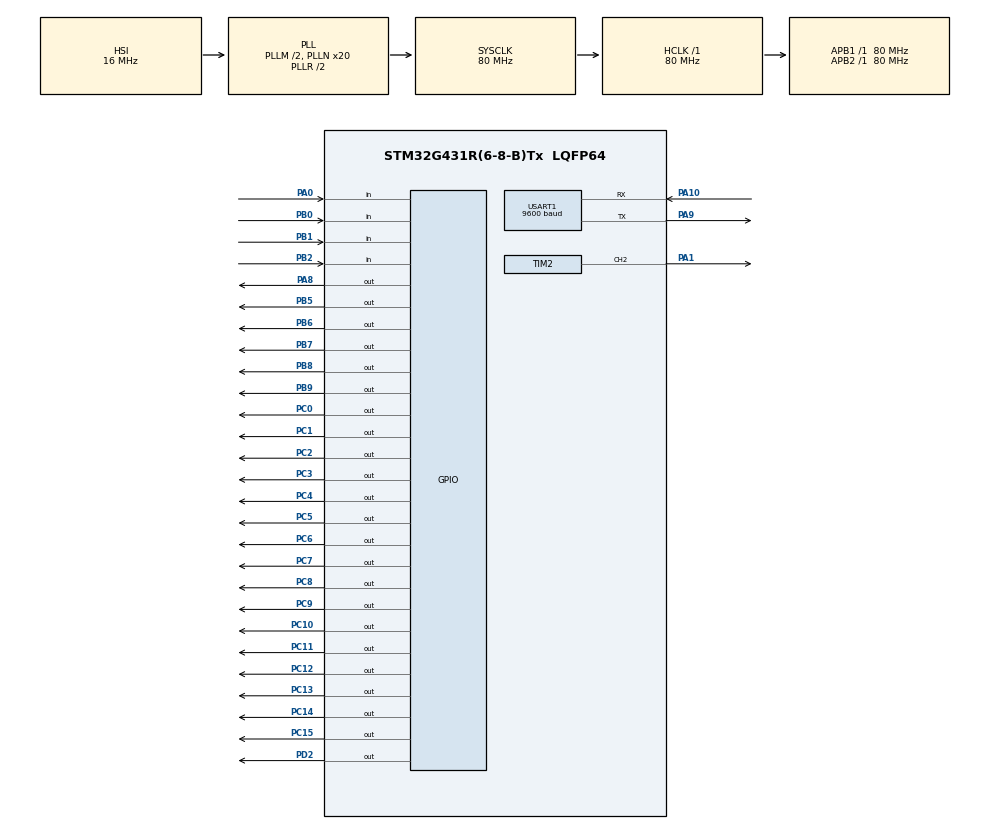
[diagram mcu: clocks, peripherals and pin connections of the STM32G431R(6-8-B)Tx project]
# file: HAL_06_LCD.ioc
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Mcu.Family=STM32G4
Mcu.Name=STM32G431R(6-8-B)Tx
Mcu.Package=LQFP64
NVIC.PriorityGroup=NVIC_PRIORITYGROUP_2
NVIC.TIM3_IRQn=true\:1\:0\:true\:false\:true\:true\:true\:true
NVIC.USART1_IRQn=true\:1\:0\:true\:false\:true\:true\:true\:true
PA0.Signal=GPIO_Input
PA1.Signal=S_TIM2_CH2
PA10.Mode=Asynchronous
PA10.Signal=USART1_RX
PA8.Signal=GPIO_Output
PA9.Mode=Asynchronous
PA9.Signal=USART1_TX
PB0.Signal=GPIO_Input
PB1.Signal=GPIO_Input
PB2.Signal=GPIO_Input
PB5.Signal=GPIO_Output
PB6.Signal=GPIO_Output
PB7.Signal=GPIO_Output
PB8-BOOT0.Signal=GPIO_Output
PB9.Signal=GPIO_Output
PC0.Signal=GPIO_Output
PC1.Signal=GPIO_Output
PC10.Signal=GPIO_Output
PC11.Signal=GPIO_Output
PC12.Signal=GPIO_Output
PC13.Signal=GPIO_Output
PC14-OSC32_IN.Signal=GPIO_Output
PC15-OSC32_OUT.Signal=GPIO_Output
PC2.Signal=GPIO_Output
PC3.Signal=GPIO_Output
PC4.Signal=GPIO_Output
PC5.Signal=GPIO_Output
PC6.Signal=GPIO_Output
PC7.Signal=GPIO_Output
PC8.Signal=GPIO_Output
PC9.Signal=GPIO_Output
PD2.Signal=GPIO_Output
PF0-OSC_IN.Mode=HSE-External-Oscillator
PF0-OSC_IN.Signal=RCC_OSC_IN
PF1-OSC_OUT.Mode=HSE-External-Oscillator
PF1-OSC_OUT.Signal=RCC_OSC_OUT
ProjectManager.HeapSize=0x200
ProjectManager.StackSize=0x400
ProjectManager.TargetToolchain=MDK-ARM V5.27
RCC.ADC12Freq_Value=80000000
RCC.AHBFreq_Value=80000000
RCC.APB1Freq_Value=80000000
RCC.APB1TimFreq_Value=80000000
RCC.APB2Freq_Value=80000000
RCC.APB2TimFreq_Value=80000000
RCC.CortexFreq_Value=80000000
RCC.EXTERNAL_CLOCK_VALUE=12288000
RCC.HCLKFreq_Value=80000000
RCC.HSE_VALUE=24000000
RCC.HSI48_VALUE=48000000
RCC.HSI_VALUE=16000000
RCC.LSE_VALUE=32768
RCC.PLLM=RCC_PLLM_DIV2
RCC.PLLN=20
RCC.SYSCLKFreq_VALUE=80000000
RCC.SYSCLKSource=RCC_SYSCLKSOURCE_PLLCLK
RCC.USBFreq_Value=80000000
RCC.VCOOutputFreq_Value=160000000
SH.S_TIM2_CH2.0=TIM2_CH2,PWM Generation2 CH2
TIM2.AutoReloadPreload=TIM_AUTORELOAD_PRELOAD_DISABLE
TIM2.Channel-PWM\ Generation2\ CH2=TIM_CHANNEL_2
TIM2.PeriodNoDither=999
TIM2.Prescaler=79
TIM3.PeriodNoDither=999
TIM3.Prescaler=1598
USART1.BaudRate=9600
USART1.VirtualMode-Asynchronous=VM_ASYNC
VP_SYS_VS_DBSignals.Mode=DisableDeadBatterySignals
VP_TIM2_VS_ClockSourceINT.Mode=Internal
VP_TIM3_VS_ClockSourceINT.Mode=Internal
board=custom

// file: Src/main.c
/* USER CODE BEGIN Header */
/**
 ******************************************************************************
 * @file           : main.c
 * @brief          : Main program body
 ******************************************************************************
 * @attention
 *
 * <h2><center>&copy; Copyright (c) 2021 STMicroelectronics.
 * All rights reserved.</center></h2>
 *
 * This software component is licensed by ST under BSD 3-Clause license,
 * the "License"; You may not use this file except in compliance with the
 * License. You may obtain a copy of the License at:
 *                        opensource.org/licenses/BSD-3-Clause
 *
 ******************************************************************************
 */
/* USER CODE END Header */
#include "main.h"

/* USER CODE BEGIN Includes */
#include "stdbool.h"
#include "i2c.h"
#include "stdio.h"
#include "string.h"
/* USER CODE END Includes */

TIM_HandleTypeDef htim2;
TIM_HandleTypeDef htim3;

UART_HandleTypeDef huart1;

void SystemClock_Config(void);
static void MX_GPIO_Init(void);
static void MX_TIM2_Init(void);
static void MX_USART1_UART_Init(void);
static void MX_TIM3_Init(void);

/* USER CODE BEGIN 0 */
typedef struct
{
	unsigned char judge_sta; // 0:表示按键没有按下 1:表示按键按下，但是不知道是不是真的按下，需要通过延时消抖进行判断 2:表示按键按下，已经经过了延时消抖，可以认为是真的按下了
	bool key_sta;			 // 按键的状态，0表示按下，1表示没有按下
	bool single_flag;		 // 单次按键标志，0表示没有按下，1表示按下了
} keys;

keys key[4] = {0};//按键初始化
unsigned char menu = 1;//菜单选择 1:密码输入 2：状态显示
unsigned char psd[3] = {'@', '@', '@'};//用于保存当前密码值
char lcd_string[30] = {'@'};//用于作为LCD显示的字符串
char password_line[11] = {'@', '0', '1', '2', '3', '4', '5', '6', '7', '8', '9'};//保存的是密码的可输入字符，当初始时没有按键按下的情况时，显示的是@，当按下按键时，显示的是对应的数字
unsigned char key_num[3] = {0, 0, 0};//用于保存当前按键按下的次数，用于作为密码的索引
char uart_text[7];//用于保存串口接收到的字符串,这是由uart_word组成的字符串
unsigned char uart_word;//用于保存串口接收到的字符
unsigned char uart_len;//用于保存串口接收到的字符串的长度
__IO uint32_t PWM_Tick;//用于保存系统运行到当前的时间
__IO uint32_t led_Tick_1;//用于保存led1亮时的时间
__IO uint32_t led_Tick_2;//用于保存led2亮时的时间，用于闪烁
unsigned char error_time;//用于保存错误次数
unsigned char error_flag;//用于保存错误标志，0表示没有错误，1表示有错误
unsigned char right_flag;//用于保存正确标志，0表示没有正确，1表示有正确

unsigned char i2c_read(unsigned char address)//读取eeprom存储的密码值
{
	unsigned char i2c_val;
	I2CStart();
	I2CSendByte(0xa0);
	I2CWaitAck();

	I2CSendByte(address);
	I2CWaitAck();

	I2CStart();
	I2CSendByte(0xa1);
	I2CWaitAck();

	i2c_val = I2CReceiveByte();
	I2CWaitAck();
	I2CStop();
	return i2c_val;
}

void i2c_write(unsigned char address, unsigned char info)//向eeprom存储密码值
{
	I2CStart();
	I2CSendByte(0xa0);
	I2CWaitAck();

	I2CSendByte(address);
	I2CWaitAck();

	I2CSendByte(info);
	I2CWaitAck();
	I2CStop();
}

void HAL_TIM_PeriodElapsedCallback(TIM_HandleTypeDef *htim)//定时器3回调函数，每20ms执行一次，用于判断是否有按键按下
{
	if (htim->Instance == TIM3)
	{
		key[0].key_sta = HAL_GPIO_ReadPin(GPIOB, GPIO_PIN_0);
		key[1].key_sta = HAL_GPIO_ReadPin(GPIOB, GPIO_PIN_1);
		key[2].key_sta = HAL_GPIO_ReadPin(GPIOB, GPIO_PIN_2);
		key[3].key_sta = HAL_GPIO_ReadPin(GPIOA, GPIO_PIN_0);
		for (int i = 0; i < 4; i++)
		{
			switch (key[i].judge_sta)
			{
			case 0:
			{
				if (key[i].key_sta == 0)
				{
					key[i].judge_sta = 1;
				}
				else
				{
					key[i].judge_sta = 0;
				}
			}
			break;
			case 1:
			{
				if (key[i].key_sta == 0)
				{
					key[i].single_flag = 1;
					key[i].judge_sta = 2;
				}
				else
				{
					key[i].judge_sta = 0;
				}
			}
			break;
			case 2:
			{
				if (key[i].key_sta == 1)
				{
					key[i].judge_sta = 0;
				}
			}
			break;
			}
		}
	}
}
void key_proc()//按键处理函数,当按键按下时，key_num的值会加1，当key_num的值大于10时，key_num的值会变为1，这样就可以实现循环显示0-9，并且跳过@
{
	if (key[0].single_flag == 1)
	{
		key_num[0] = key_num[0] + 1;
		if (key_num[0] > 10)
		{
			key_num[0] = 1;
		}
		key[0].single_flag = 0;
	}

	if (key[1].single_flag == 1)
	{
		key_num[1] = key_num[1] + 1;
		if (key_num[1] > 10)
		{
			key_num[1] = 1;
		}
		key[1].single_flag = 0;
	}
	if (key[2].single_flag == 1)
	{
		key_num[2] = key_num[2] + 1;
		if (key_num[2] > 10)
		{
			key_num[2] = 1;
		}
		key[2].single_flag = 0;
	}

	if (key[3].single_flag == 1)
	{
		psd[0] = i2c_read(0x00);//读取eeprom中的密码值
		HAL_Delay(1);//延时1ms,这是因为i2c的读写速度太快了，如果不延时，会导致读取的值不正确
		psd[1] = i2c_read(0x01);
		HAL_Delay(1);
		psd[2] = i2c_read(0x02);
		HAL_Delay(1);
		if ((password_line[key_num[0]] == psd[0]) && (password_line[key_num[1]] == psd[1]) && (password_line[key_num[2]] == psd[2]))//判断输入的密码是否正确
		{
			menu = 2;//正确，进入菜单2
			PWM_Tick = uwTick;//记录当前时间
			led_Tick_1 = uwTick;//记录当前时间
			error_time = 0;//错误次数清零
			right_flag = 1;//正确标志位置1
			HAL_GPIO_WritePin(GPIOC, GPIO_PIN_8, 0);
			HAL_GPIO_WritePin(GPIOD, GPIO_PIN_2, 1);
			HAL_GPIO_WritePin(GPIOD, GPIO_PIN_2, 0);
		}
		else
		{
			key_num[0] = 0;//错误，清空输入的密码
			key_num[1] = 0;
			key_num[2] = 0;
			error_time++;//错误次数加1
			if (error_time >= 3)//错误次数大于等于3次时，led2闪烁
			{
				error_flag = 1;//错误标志位置1
				led_Tick_2 = uwTick;//记录当前时间
			}
		}
		key[3].single_flag = 0;
	}
}
void lcd_disp()
{

	switch (menu)
	{
	case 1:
	{
		__HAL_TIM_SET_AUTORELOAD(&htim2, 999);//密码输入界面就是一个PWM波，频率为1KHz，占空比为50%
		__HAL_TIM_SetCompare(&htim2, TIM_CHANNEL_2, 500);
		sprintf(lcd_string, "       PSD");
		LCD_DisplayStringLine(Line2, (unsigned char *)lcd_string);
		sprintf(lcd_string, "    B1:%c", password_line[key_num[0]]);
		LCD_DisplayStringLine(Line4, (unsigned char *)lcd_string);
		sprintf(lcd_string, "    B2:%c", password_line[key_num[1]]);
		LCD_DisplayStringLine(Line5, (unsigned char *)lcd_string);
		sprintf(lcd_string, "    B3:%c", password_line[key_num[2]]);
		LCD_DisplayStringLine(Line6, (unsigned char *)lcd_string);
	}
	break;
	case 2:
	{
		__HAL_TIM_SET_AUTORELOAD(&htim2, 499);//菜单2界面就是一个PWM波，频率为2KHz，占空比为10%
		__HAL_TIM_SetCompare(&htim2, TIM_CHANNEL_2, 50);
		sprintf(lcd_string, "       STA");
		LCD_DisplayStringLine(Line2, (unsigned char *)lcd_string);
		sprintf(lcd_string, "    F:%4dHz", 2000);
		LCD_DisplayStringLine(Line4, (unsigned char *)lcd_string);
		sprintf(lcd_string, "    D:%d%%", 10);
		LCD_DisplayStringLine(Line5, (unsigned char *)lcd_string);
		LCD_ClearLine(Line6);
	}
	break;
	}
	if (menu == 2)
	{
		if (uwTick - PWM_Tick > 5000)//5秒后自动返回菜单1
		{
			__HAL_TIM_SET_AUTORELOAD(&htim2, 999);//密码输入界面就是一个PWM波，频率为1KHz，占空比为50%
			__HAL_TIM_SetCompare(&htim2, TIM_CHANNEL_2, 500);
			menu = 1;
			LCD_Clear(Black);//清屏
			key_num[0] = 0;
			key_num[1] = 0;
			key_num[2] = 0;
		}
	}
}
void HAL_UART_RxCpltCallback(UART_HandleTypeDef *huart)
{
	if (huart == &huart1)
	{
		uart_text[uart_len++] = uart_word;//将接收到的字符存入数组,uart_len++是先赋值再加1,就是初始时uart_len=0,所以先存入数组的是uart_text[0]
		HAL_UART_Receive_IT(&huart1, &uart_word, 1);//开启串口中断,&uart_word是接收到的字符	,要求特别注意这里，需要传入的是地址不是值
	}
}
unsigned char judge_uart_text()//判断接收到的字符串是否符合要求
{

	if (uart_len == 0)
	{
		return 0;
	}
	if (uart_len != 7)
	{
		return 2;
	}
	if (uart_text[3] == '-')
	{
		for (int i = 0; i < 3; i++)
		{
			if ((uart_text[i] < '0') || (uart_text[i] > '9'))
			{
				return 2;
			}
		}
		for (int i = 4; i < 7; i++)
		{
			if ((uart_text[i] < '0') || uart_text[i] > '9')
			{
				return 2;
			}
		}
		return 1;
	}
	else
	{
		return 2;
	}
}
void change_password()//修改密码
{
	unsigned char tips[30];
	if (judge_uart_text() == 1)
	{
		if ((uart_text[0] == psd[0]) && (uart_text[1] == psd[1]) && (uart_text[2] == psd[2]))
		{
			psd[0] = uart_text[4];
			psd[1] = uart_text[5];
			psd[2] = uart_text[6];
			i2c_write(0x00, psd[0]);
			HAL_Delay(5);
			i2c_write(0x01, psd[1]);
			HAL_Delay(5);
			i2c_write(0x02, psd[2]);
			HAL_Delay(5);
			sprintf((char *)tips, "OK\n");
			HAL_UART_Transmit(&huart1, tips, strlen(tips), 50);
		}
		else
		{
			sprintf((char *)tips, "Errors\n");
			HAL_UART_Transmit(&huart1, tips, strlen(tips), 50);
		}
	}
	else if (judge_uart_text() == 2)
	{
		sprintf((char *)tips, "Error\n");
		HAL_UART_Transmit(&huart1, tips, strlen(tips), 50);
	}
	uart_len = 0;
}
void led_proc()
{
	if ((uwTick - led_Tick_1 >= 5000) && (right_flag == 1))//5秒后自动关闭LED,并且只有在输入正确的密码之后才会在5秒后关闭led1与led2
	{
		HAL_GPIO_WritePin(GPIOC, GPIO_PIN_8 | GPIO_PIN_9, 1);
		HAL_GPIO_WritePin(GPIOD, GPIO_PIN_2, 1);
		HAL_GPIO_WritePin(GPIOD, GPIO_PIN_2, 0);
		error_flag = 0;
		right_flag = 0;
	}
	if (error_flag == 1)
	{

		if (uwTick - led_Tick_2 >= 100)//每100ms就闪烁一次
		{
			HAL_GPIO_TogglePin(GPIOC, GPIO_PIN_9);
			HAL_GPIO_WritePin(GPIOD, GPIO_PIN_2, 1);
			HAL_GPIO_WritePin(GPIOD, GPIO_PIN_2, 0);
			led_Tick_2 = uwTick;
		}
	}
}

/* USER CODE END 0 */

int main(void)
{

	/* MCU Configuration--------------------------------------------------------*/

	/* Reset of all peripherals, Initializes the Flash interface and the Systick. */
	HAL_Init();

	/* Configure the system clock */
	SystemClock_Config();

	/* Initialize all configured peripherals */
	MX_GPIO_Init();
	MX_TIM2_Init();
	MX_USART1_UART_Init();
	MX_TIM3_Init();
	/* USER CODE BEGIN 2 */

	LCD_Init();
	/* USER CODE END 2 */

	/* Infinite loop */
	/* USER CODE BEGIN WHILE */

	LCD_Clear(Black);
	LCD_SetBackColor(Black);
	LCD_SetTextColor(White);
	HAL_GPIO_WritePin(GPIOC, GPIO_PIN_All, GPIO_PIN_SET);
	HAL_GPIO_WritePin(GPIOD, GPIO_PIN_2, GPIO_PIN_SET);
	HAL_GPIO_WritePin(GPIOD, GPIO_PIN_2, GPIO_PIN_RESET);
	__HAL_TIM_SET_AUTORELOAD(&htim2, 999);
	__HAL_TIM_SetCompare(&htim2, TIM_CHANNEL_2, 500);
	HAL_TIM_PWM_Start(&htim2, TIM_CHANNEL_2);
	HAL_TIM_Base_Start_IT(&htim3);
	HAL_UART_Receive_IT(&huart1, &uart_word, 1);
	i2c_write(0x00, '1');
	HAL_Delay(5);
	i2c_write(0x01, '2');
	HAL_Delay(5);
	i2c_write(0x02, '3');
	HAL_Delay(5);

	psd[0] = '1';
	psd[1] = '2';
	psd[2] = '3';

	while (1)
	{
		/* USER CODE END WHILE */

		/* USER CODE BEGIN 3 */

		key_proc();
		lcd_disp();
		change_password();
		led_proc();
	}
	/* USER CODE END 3 */
}

void SystemClock_Config(void)
{
	RCC_OscInitTypeDef RCC_OscInitStruct = {0};
	RCC_ClkInitTypeDef RCC_ClkInitStruct = {0};

	/** Configure the main internal regulator output voltage
	 */
	HAL_PWREx_ControlVoltageScaling(PWR_REGULATOR_VOLTAGE_SCALE1);

	/** Initializes the RCC Oscillators according to the specified parameters
	 * in the RCC_OscInitTypeDef structure.
	 */
	RCC_OscInitStruct.OscillatorType = RCC_OSCILLATORTYPE_HSI;
	RCC_OscInitStruct.HSIState = RCC_HSI_ON;
	RCC_OscInitStruct.HSICalibrationValue = RCC_HSICALIBRATION_DEFAULT;
	RCC_OscInitStruct.PLL.PLLState = RCC_PLL_ON;
	RCC_OscInitStruct.PLL.PLLSource = RCC_PLLSOURCE_HSI;
	RCC_OscInitStruct.PLL.PLLM = RCC_PLLM_DIV2;
	RCC_OscInitStruct.PLL.PLLN = 20;
	RCC_OscInitStruct.PLL.PLLP = RCC_PLLP_DIV2;
	RCC_OscInitStruct.PLL.PLLQ = RCC_PLLQ_DIV2;
	RCC_OscInitStruct.PLL.PLLR = RCC_PLLR_DIV2;
	if (HAL_RCC_OscConfig(&RCC_OscInitStruct) != HAL_OK)
	{
		Error_Handler();
	}

	/** Initializes the CPU, AHB and APB buses clocks
	 */
	RCC_ClkInitStruct.ClockType = RCC_CLOCKTYPE_HCLK | RCC_CLOCKTYPE_SYSCLK | RCC_CLOCKTYPE_PCLK1 | RCC_CLOCKTYPE_PCLK2;
	RCC_ClkInitStruct.SYSCLKSource = RCC_SYSCLKSOURCE_PLLCLK;
	RCC_ClkInitStruct.AHBCLKDivider = RCC_SYSCLK_DIV1;
	RCC_ClkInitStruct.APB1CLKDivider = RCC_HCLK_DIV1;
	RCC_ClkInitStruct.APB2CLKDivider = RCC_HCLK_DIV1;

	if (HAL_RCC_ClockConfig(&RCC_ClkInitStruct, FLASH_LATENCY_2) != HAL_OK)
	{
		Error_Handler();
	}
}

static void MX_TIM2_Init(void)
{

	TIM_ClockConfigTypeDef sClockSourceConfig = {0};
	TIM_MasterConfigTypeDef sMasterConfig = {0};
	TIM_OC_InitTypeDef sConfigOC = {0};

	htim2.Instance = TIM2;
	htim2.Init.Prescaler = 79;
	htim2.Init.CounterMode = TIM_COUNTERMODE_UP;
	htim2.Init.Period = 999;
	htim2.Init.ClockDivision = TIM_CLOCKDIVISION_DIV1;
	htim2.Init.AutoReloadPreload = TIM_AUTORELOAD_PRELOAD_DISABLE;
	if (HAL_TIM_Base_Init(&htim2) != HAL_OK)
	{
		Error_Handler();
	}
	sClockSourceConfig.ClockSource = TIM_CLOCKSOURCE_INTERNAL;
	if (HAL_TIM_ConfigClockSource(&htim2, &sClockSourceConfig) != HAL_OK)
	{
		Error_Handler();
	}
	if (HAL_TIM_PWM_Init(&htim2) != HAL_OK)
	{
		Error_Handler();
	}
	sMasterConfig.MasterOutputTrigger = TIM_TRGO_RESET;
	sMasterConfig.MasterSlaveMode = TIM_MASTERSLAVEMODE_DISABLE;
	if (HAL_TIMEx_MasterConfigSynchronization(&htim2, &sMasterConfig) != HAL_OK)
	{
		Error_Handler();
	}
	sConfigOC.OCMode = TIM_OCMODE_PWM1;
	sConfigOC.Pulse = 0;
	sConfigOC.OCPolarity = TIM_OCPOLARITY_HIGH;
	sConfigOC.OCFastMode = TIM_OCFAST_DISABLE;
	if (HAL_TIM_PWM_ConfigChannel(&htim2, &sConfigOC, TIM_CHANNEL_2) != HAL_OK)
	{
		Error_Handler();
	}
	HAL_TIM_MspPostInit(&htim2);
}

static void MX_TIM3_Init(void)
{

	TIM_ClockConfigTypeDef sClockSourceConfig = {0};
	TIM_MasterConfigTypeDef sMasterConfig = {0};

	htim3.Instance = TIM3;
	htim3.Init.Prescaler = 1598;
	htim3.Init.CounterMode = TIM_COUNTERMODE_UP;
	htim3.Init.Period = 999;
	htim3.Init.ClockDivision = TIM_CLOCKDIVISION_DIV1;
	htim3.Init.AutoReloadPreload = TIM_AUTORELOAD_PRELOAD_DISABLE;
	if (HAL_TIM_Base_Init(&htim3) != HAL_OK)
	{
		Error_Handler();
	}
	sClockSourceConfig.ClockSource = TIM_CLOCKSOURCE_INTERNAL;
	if (HAL_TIM_ConfigClockSource(&htim3, &sClockSourceConfig) != HAL_OK)
	{
		Error_Handler();
	}
	sMasterConfig.MasterOutputTrigger = TIM_TRGO_RESET;
	sMasterConfig.MasterSlaveMode = TIM_MASTERSLAVEMODE_DISABLE;
	if (HAL_TIMEx_MasterConfigSynchronization(&htim3, &sMasterConfig) != HAL_OK)
	{
		Error_Handler();
	}
}

static void MX_USART1_UART_Init(void)
{

	huart1.Instance = USART1;
	huart1.Init.BaudRate = 9600;
	huart1.Init.WordLength = UART_WORDLENGTH_8B;
	huart1.Init.StopBits = UART_STOPBITS_1;
	huart1.Init.Parity = UART_PARITY_NONE;
	huart1.Init.Mode = UART_MODE_TX_RX;
	huart1.Init.HwFlowCtl = UART_HWCONTROL_NONE;
	huart1.Init.OverSampling = UART_OVERSAMPLING_16;
	huart1.Init.OneBitSampling = UART_ONE_BIT_SAMPLE_DISABLE;
	huart1.Init.ClockPrescaler = UART_PRESCALER_DIV1;
	huart1.AdvancedInit.AdvFeatureInit = UART_ADVFEATURE_NO_INIT;
	if (HAL_UART_Init(&huart1) != HAL_OK)
	{
		Error_Handler();
	}
	if (HAL_UARTEx_SetTxFifoThreshold(&huart1, UART_TXFIFO_THRESHOLD_1_8) != HAL_OK)
	{
		Error_Handler();
	}
	if (HAL_UARTEx_SetRxFifoThreshold(&huart1, UART_RXFIFO_THRESHOLD_1_8) != HAL_OK)
	{
		Error_Handler();
	}
	if (HAL_UARTEx_DisableFifoMode(&huart1) != HAL_OK)
	{
		Error_Handler();
	}
}

static void MX_GPIO_Init(void)
{
	GPIO_InitTypeDef GPIO_InitStruct = {0};

	/* GPIO Ports Clock Enable */
	__HAL_RCC_GPIOC_CLK_ENABLE();
	__HAL_RCC_GPIOF_CLK_ENABLE();
	__HAL_RCC_GPIOA_CLK_ENABLE();
	__HAL_RCC_GPIOB_CLK_ENABLE();
	__HAL_RCC_GPIOD_CLK_ENABLE();

	/*Configure GPIO pin Output Level */
	HAL_GPIO_WritePin(GPIOC, GPIO_PIN_13 | GPIO_PIN_14 | GPIO_PIN_15 | GPIO_PIN_0 | GPIO_PIN_1 | GPIO_PIN_2 | GPIO_PIN_3 | GPIO_PIN_4 | GPIO_PIN_5 | GPIO_PIN_6 | GPIO_PIN_7 | GPIO_PIN_8 | GPIO_PIN_9 | GPIO_PIN_10 | GPIO_PIN_11 | GPIO_PIN_12, GPIO_PIN_RESET);

	/*Configure GPIO pin Output Level */
	HAL_GPIO_WritePin(GPIOA, GPIO_PIN_8, GPIO_PIN_RESET);

	/*Configure GPIO pin Output Level */
	HAL_GPIO_WritePin(GPIOD, GPIO_PIN_2, GPIO_PIN_RESET);

	/*Configure GPIO pin Output Level */
	HAL_GPIO_WritePin(GPIOB, GPIO_PIN_5 | GPIO_PIN_6 | GPIO_PIN_7 | GPIO_PIN_8 | GPIO_PIN_9, GPIO_PIN_RESET);

	/*Configure GPIO pins : PC13 PC14 PC15 PC0
							 PC1 PC2 PC3 PC4
							 PC5 PC6 PC7 PC8
							 PC9 PC10 PC11 PC12 */
	GPIO_InitStruct.Pin = GPIO_PIN_13 | GPIO_PIN_14 | GPIO_PIN_15 | GPIO_PIN_0 | GPIO_PIN_1 | GPIO_PIN_2 | GPIO_PIN_3 | GPIO_PIN_4 | GPIO_PIN_5 | GPIO_PIN_6 | GPIO_PIN_7 | GPIO_PIN_8 | GPIO_PIN_9 | GPIO_PIN_10 | GPIO_PIN_11 | GPIO_PIN_12;
	GPIO_InitStruct.Mode = GPIO_MODE_OUTPUT_PP;
	GPIO_InitStruct.Pull = GPIO_NOPULL;
	GPIO_InitStruct.Speed = GPIO_SPEED_FREQ_LOW;
	HAL_GPIO_Init(GPIOC, &GPIO_InitStruct);

	/*Configure GPIO pin : PA0 */
	GPIO_InitStruct.Pin = GPIO_PIN_0;
	GPIO_InitStruct.Mode = GPIO_MODE_INPUT;
	GPIO_InitStruct.Pull = GPIO_NOPULL;
	HAL_GPIO_Init(GPIOA, &GPIO_InitStruct);

	/*Configure GPIO pins : PB0 PB1 PB2 */
	GPIO_InitStruct.Pin = GPIO_PIN_0 | GPIO_PIN_1 | GPIO_PIN_2;
	GPIO_InitStruct.Mode = GPIO_MODE_INPUT;
	GPIO_InitStruct.Pull = GPIO_NOPULL;
	HAL_GPIO_Init(GPIOB, &GPIO_InitStruct);

	/*Configure GPIO pin : PA8 */
	GPIO_InitStruct.Pin = GPIO_PIN_8;
	GPIO_InitStruct.Mode = GPIO_MODE_OUTPUT_PP;
	GPIO_InitStruct.Pull = GPIO_NOPULL;
	GPIO_InitStruct.Speed = GPIO_SPEED_FREQ_LOW;
	HAL_GPIO_Init(GPIOA, &GPIO_InitStruct);

	/*Configure GPIO pin : PD2 */
	GPIO_InitStruct.Pin = GPIO_PIN_2;
	GPIO_InitStruct.Mode = GPIO_MODE_OUTPUT_PP;
	GPIO_InitStruct.Pull = GPIO_NOPULL;
	GPIO_InitStruct.Speed = GPIO_SPEED_FREQ_LOW;
	HAL_GPIO_Init(GPIOD, &GPIO_InitStruct);

	/*Configure GPIO pins : PB5 PB6 PB7 PB8
							 PB9 */
	GPIO_InitStruct.Pin = GPIO_PIN_5 | GPIO_PIN_6 | GPIO_PIN_7 | GPIO_PIN_8 | GPIO_PIN_9;
	GPIO_InitStruct.Mode = GPIO_MODE_OUTPUT_PP;
	GPIO_InitStruct.Pull = GPIO_NOPULL;
	GPIO_InitStruct.Speed = GPIO_SPEED_FREQ_LOW;
	HAL_GPIO_Init(GPIOB, &GPIO_InitStruct);
}

void Error_Handler(void)
{
}
